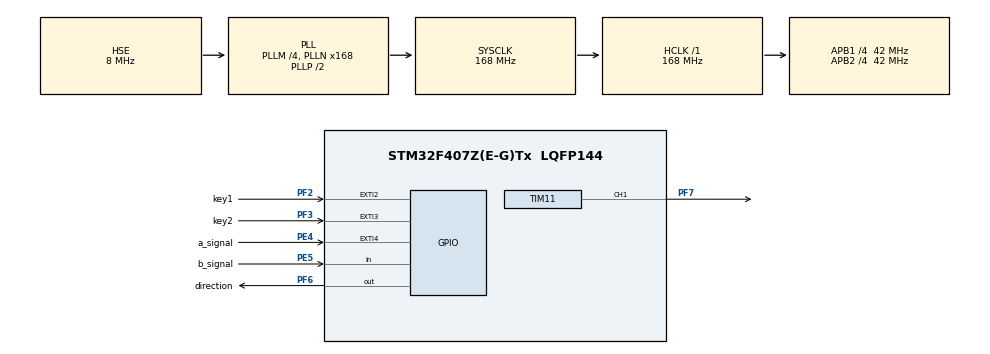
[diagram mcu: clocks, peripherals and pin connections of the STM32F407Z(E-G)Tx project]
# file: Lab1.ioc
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Mcu.Family=STM32F4
Mcu.Name=STM32F407Z(E-G)Tx
Mcu.Package=LQFP144
NVIC.EXTI2_IRQn=true\:0\:0\:false\:false\:true\:true\:true\:true
NVIC.EXTI3_IRQn=true\:0\:0\:false\:false\:true\:true\:true\:true
NVIC.EXTI4_IRQn=true\:0\:0\:false\:false\:true\:true\:true\:true
NVIC.PriorityGroup=NVIC_PRIORITYGROUP_4
NVIC.TIM6_DAC_IRQn=true\:0\:0\:false\:false\:true\:true\:true\:true
PE4.GPIO_Label=a_signal
PE4.Signal=GPXTI4
PE5.GPIO_Label=b_signal
PE5.Signal=GPIO_Input
PF2.GPIO_Label=key1
PF2.GPIO_ModeDefaultEXTI=GPIO_MODE_IT_RISING_FALLING
PF2.Signal=GPXTI2
PF3.GPIO_Label=key2
PF3.GPIO_ModeDefaultEXTI=GPIO_MODE_IT_RISING
PF3.Signal=GPXTI3
PF6.GPIO_Label=direction
PF6.Signal=GPIO_Output
PF7.Signal=S_TIM11_CH1
PH0-OSC_IN.Mode=HSE-External-Oscillator
PH0-OSC_IN.Signal=RCC_OSC_IN
PH1-OSC_OUT.Mode=HSE-External-Oscillator
PH1-OSC_OUT.Signal=RCC_OSC_OUT
ProjectManager.HeapSize=0x200
ProjectManager.StackSize=0x400
ProjectManager.TargetToolchain=STM32CubeIDE
RCC.48MHZClocksFreq_Value=84000000
RCC.AHBFreq_Value=168000000
RCC.APB1CLKDivider=RCC_HCLK_DIV4
RCC.APB1Freq_Value=42000000
RCC.APB1TimFreq_Value=84000000
RCC.APB2CLKDivider=RCC_HCLK_DIV4
RCC.APB2Freq_Value=42000000
RCC.APB2TimFreq_Value=84000000
RCC.CortexFreq_Value=168000000
RCC.HCLKFreq_Value=168000000
RCC.HSE_VALUE=8000000
RCC.HSI_VALUE=16000000
RCC.LSE_VALUE=32768
RCC.PLLM=4
RCC.PLLN=168
RCC.PLLSourceVirtual=RCC_PLLSOURCE_HSE
RCC.SYSCLKFreq_VALUE=168000000
RCC.SYSCLKSource=RCC_SYSCLKSOURCE_PLLCLK
RCC.VCOOutputFreq_Value=336000000
SH.S_TIM11_CH1.0=TIM11_CH1,PWM Generation1 CH1
TIM10.Period=9999
TIM10.Prescaler=167
TIM11.Channel=TIM_CHANNEL_1
TIM11.Period=1000
TIM11.Prescaler=4
TIM11.Pulse=0
VP_TIM10_VS_ClockSourceINT.Mode=Enable_Timer
VP_TIM11_VS_ClockSourceINT.Mode=Enable_Timer
VP_TIM6_VS_ClockSourceINT.Mode=Enable_Timer
board=custom

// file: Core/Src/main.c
/* USER CODE BEGIN Header */
/**
  ******************************************************************************
  * @file           : main.c
  * @brief          : Main program body
  ******************************************************************************
  * @attention
  *
  * Copyright (c) 2023 STMicroelectronics.
  * All rights reserved.
  *
  * This software is licensed under terms that can be found in the LICENSE file
  * in the root directory of this software component.
  * If no LICENSE file comes with this software, it is provided AS-IS.
  *
  ******************************************************************************
  */
/* USER CODE END Header */
#include "main.h"

/* USER CODE BEGIN PTD */
typedef enum{
	  ZERO,
	  FIRST,
	  SECOND,
	  THIRD
  }STATE;

/* USER CODE END PTD */

/* USER CODE BEGIN PD */
#define PPR 1024
#define STEADY_STATE 1800
/* USER CODE END PD */

 TIM_HandleTypeDef htim6;
TIM_HandleTypeDef htim10;
TIM_HandleTypeDef htim11;

/* USER CODE BEGIN PV */
STATE state = ZERO;
/* USER CODE END PV */

void SystemClock_Config(void);
static void MX_GPIO_Init(void);
static void MX_TIM11_Init(void);
static void MX_TIM6_Init(void);
static void MX_TIM10_Init(void);

/* USER CODE BEGIN 0 */
uint16_t pulse_number = 0;
uint16_t rpm = 0;
uint16_t direction = 0;
uint16_t ta = 0;
uint16_t rpm_0 = 0;
uint16_t rpm_1 = 0;
uint16_t rpm_prev = 0;
uint16_t rpm_next = 0;
uint16_t K = 0;
uint16_t ss = 0;
/* USER CODE END 0 */

int main(void)
{

  /* MCU Configuration--------------------------------------------------------*/

  /* Reset of all peripherals, Initializes the Flash interface and the Systick. */
  HAL_Init();

  /* Configure the system clock */
  SystemClock_Config();

  /* Initialize all configured peripherals */
  MX_GPIO_Init();
  MX_TIM11_Init();
  MX_TIM6_Init();
  MX_TIM10_Init();
  /* USER CODE BEGIN 2 */
  HAL_TIM_PWM_Start(&htim11, TIM_CHANNEL_1);
  TIM11->CCR1 = 1;

  TIM6->PSC = 839;
  TIM6->ARR = 999;
  HAL_TIM_Base_Start_IT(&htim6);

  /* USER CODE END 2 */

  /* Infinite loop */
  /* USER CODE BEGIN WHILE */
  while (1)
  {

	  switch(state){
	  case ZERO:
		  TIM11->CCR1 = 1;
		  break;
	  case FIRST:
		  TIM11->CCR1 = 370;
		  rpm_0 = rpm;
		  rpm_next = rpm;
		  break;
	  case SECOND:
		  TIM11->CCR1 = 700;
		  rpm_1 = rpm;
		  rpm_prev = rpm_next;
		  rpm_next = rpm;
		  K = (rpm_1 - rpm_0) / ((0.7f-0.37f) * 12);
		  if (abs(rpm_next - rpm_prev) < 1){
			  ss = rpm_next;
		  }
		  if (rpm > (1134 + rpm_0)){
			  ta = __HAL_TIM_GET_COUNTER(&htim10);
			  HAL_TIM_Base_Stop(&htim10);
		  }
		  break;
	  case THIRD:
		  TIM11->CCR1 = 370;
		  break;
	  }
    /* USER CODE END WHILE */

  }
}

void SystemClock_Config(void)
{
  RCC_OscInitTypeDef RCC_OscInitStruct = {0};
  RCC_ClkInitTypeDef RCC_ClkInitStruct = {0};

  /** Configure the main internal regulator output voltage
  */
  __HAL_RCC_PWR_CLK_ENABLE();
  __HAL_PWR_VOLTAGESCALING_CONFIG(PWR_REGULATOR_VOLTAGE_SCALE1);

  /** Initializes the RCC Oscillators according to the specified parameters
  * in the RCC_OscInitTypeDef structure.
  */
  RCC_OscInitStruct.OscillatorType = RCC_OSCILLATORTYPE_HSE;
  RCC_OscInitStruct.HSEState = RCC_HSE_ON;
  RCC_OscInitStruct.PLL.PLLState = RCC_PLL_ON;
  RCC_OscInitStruct.PLL.PLLSource = RCC_PLLSOURCE_HSE;
  RCC_OscInitStruct.PLL.PLLM = 4;
  RCC_OscInitStruct.PLL.PLLN = 168;
  RCC_OscInitStruct.PLL.PLLP = RCC_PLLP_DIV2;
  RCC_OscInitStruct.PLL.PLLQ = 4;
  if (HAL_RCC_OscConfig(&RCC_OscInitStruct) != HAL_OK)
  {
    Error_Handler();
  }

  /** Initializes the CPU, AHB and APB buses clocks
  */
  RCC_ClkInitStruct.ClockType = RCC_CLOCKTYPE_HCLK|RCC_CLOCKTYPE_SYSCLK
                              |RCC_CLOCKTYPE_PCLK1|RCC_CLOCKTYPE_PCLK2;
  RCC_ClkInitStruct.SYSCLKSource = RCC_SYSCLKSOURCE_PLLCLK;
  RCC_ClkInitStruct.AHBCLKDivider = RCC_SYSCLK_DIV1;
  RCC_ClkInitStruct.APB1CLKDivider = RCC_HCLK_DIV4;
  RCC_ClkInitStruct.APB2CLKDivider = RCC_HCLK_DIV4;

  if (HAL_RCC_ClockConfig(&RCC_ClkInitStruct, FLASH_LATENCY_5) != HAL_OK)
  {
    Error_Handler();
  }
}

static void MX_TIM6_Init(void)
{

  TIM_MasterConfigTypeDef sMasterConfig = {0};

  htim6.Instance = TIM6;
  htim6.Init.Prescaler = 0;
  htim6.Init.CounterMode = TIM_COUNTERMODE_UP;
  htim6.Init.Period = 65535;
  htim6.Init.AutoReloadPreload = TIM_AUTORELOAD_PRELOAD_DISABLE;
  if (HAL_TIM_Base_Init(&htim6) != HAL_OK)
  {
    Error_Handler();
  }
  sMasterConfig.MasterOutputTrigger = TIM_TRGO_RESET;
  sMasterConfig.MasterSlaveMode = TIM_MASTERSLAVEMODE_DISABLE;
  if (HAL_TIMEx_MasterConfigSynchronization(&htim6, &sMasterConfig) != HAL_OK)
  {
    Error_Handler();
  }

}

static void MX_TIM10_Init(void)
{

  htim10.Instance = TIM10;
  htim10.Init.Prescaler = 167;
  htim10.Init.CounterMode = TIM_COUNTERMODE_UP;
  htim10.Init.Period = 9999;
  htim10.Init.ClockDivision = TIM_CLOCKDIVISION_DIV1;
  htim10.Init.AutoReloadPreload = TIM_AUTORELOAD_PRELOAD_DISABLE;
  if (HAL_TIM_Base_Init(&htim10) != HAL_OK)
  {
    Error_Handler();
  }

}

static void MX_TIM11_Init(void)
{

  TIM_OC_InitTypeDef sConfigOC = {0};

  htim11.Instance = TIM11;
  htim11.Init.Prescaler = 4;
  htim11.Init.CounterMode = TIM_COUNTERMODE_UP;
  htim11.Init.Period = 1000;
  htim11.Init.ClockDivision = TIM_CLOCKDIVISION_DIV1;
  htim11.Init.AutoReloadPreload = TIM_AUTORELOAD_PRELOAD_DISABLE;
  if (HAL_TIM_Base_Init(&htim11) != HAL_OK)
  {
    Error_Handler();
  }
  if (HAL_TIM_PWM_Init(&htim11) != HAL_OK)
  {
    Error_Handler();
  }
  sConfigOC.OCMode = TIM_OCMODE_PWM1;
  sConfigOC.Pulse = 0;
  sConfigOC.OCPolarity = TIM_OCPOLARITY_HIGH;
  sConfigOC.OCFastMode = TIM_OCFAST_DISABLE;
  if (HAL_TIM_PWM_ConfigChannel(&htim11, &sConfigOC, TIM_CHANNEL_1) != HAL_OK)
  {
    Error_Handler();
  }
  HAL_TIM_MspPostInit(&htim11);

}

static void MX_GPIO_Init(void)
{
  GPIO_InitTypeDef GPIO_InitStruct = {0};

  /* GPIO Ports Clock Enable */
  __HAL_RCC_GPIOE_CLK_ENABLE();
  __HAL_RCC_GPIOF_CLK_ENABLE();
  __HAL_RCC_GPIOH_CLK_ENABLE();

  /*Configure GPIO pin Output Level */
  HAL_GPIO_WritePin(direction_GPIO_Port, direction_Pin, GPIO_PIN_RESET);

  /*Configure GPIO pin : a_signal_Pin */
  GPIO_InitStruct.Pin = a_signal_Pin;
  GPIO_InitStruct.Mode = GPIO_MODE_IT_RISING;
  GPIO_InitStruct.Pull = GPIO_NOPULL;
  HAL_GPIO_Init(a_signal_GPIO_Port, &GPIO_InitStruct);

  /*Configure GPIO pin : b_signal_Pin */
  GPIO_InitStruct.Pin = b_signal_Pin;
  GPIO_InitStruct.Mode = GPIO_MODE_INPUT;
  GPIO_InitStruct.Pull = GPIO_NOPULL;
  HAL_GPIO_Init(b_signal_GPIO_Port, &GPIO_InitStruct);

  /*Configure GPIO pin : key1_Pin */
  GPIO_InitStruct.Pin = key1_Pin;
  GPIO_InitStruct.Mode = GPIO_MODE_IT_RISING_FALLING;
  GPIO_InitStruct.Pull = GPIO_NOPULL;
  HAL_GPIO_Init(key1_GPIO_Port, &GPIO_InitStruct);

  /*Configure GPIO pin : key2_Pin */
  GPIO_InitStruct.Pin = key2_Pin;
  GPIO_InitStruct.Mode = GPIO_MODE_IT_RISING;
  GPIO_InitStruct.Pull = GPIO_NOPULL;
  HAL_GPIO_Init(key2_GPIO_Port, &GPIO_InitStruct);

  /*Configure GPIO pin : direction_Pin */
  GPIO_InitStruct.Pin = direction_Pin;
  GPIO_InitStruct.Mode = GPIO_MODE_OUTPUT_PP;
  GPIO_InitStruct.Pull = GPIO_NOPULL;
  GPIO_InitStruct.Speed = GPIO_SPEED_FREQ_LOW;
  HAL_GPIO_Init(direction_GPIO_Port, &GPIO_InitStruct);

  /* EXTI interrupt init*/
  HAL_NVIC_SetPriority(EXTI2_IRQn, 0, 0);
  HAL_NVIC_EnableIRQ(EXTI2_IRQn);

  HAL_NVIC_SetPriority(EXTI3_IRQn, 0, 0);
  HAL_NVIC_EnableIRQ(EXTI3_IRQn);

  HAL_NVIC_SetPriority(EXTI4_IRQn, 0, 0);
  HAL_NVIC_EnableIRQ(EXTI4_IRQn);

}

/* USER CODE BEGIN 4 */
void HAL_TIM_PeriodElapsedCallback(TIM_HandleTypeDef *htim){
	if (htim->Instance == TIM6){
		rpm = (pulse_number * 600) / PPR;
		pulse_number = 0;
	}
}

void HAL_GPIO_EXTI_Callback(uint16_t GPIO_Pin)
{
	if (GPIO_Pin == a_signal_Pin){
		pulse_number++;
		if ((HAL_GPIO_ReadPin(b_signal_GPIO_Port, b_signal_Pin)) == GPIO_PIN_SET){
			direction = 0;
		}
		else{
			direction = 1;
		}
	}
	if (GPIO_Pin == key2_Pin){
		if (state == ZERO){
			state = FIRST;
		}
		else if (state == FIRST){
			if (ta == 0){
				__HAL_TIM_SetCounter(&htim10, 0);
				HAL_TIM_Base_Start(&htim10);
			}
			state = SECOND;
		}
		else if (state == SECOND){

			state = THIRD;
		}
		else{
			state = ZERO;
		}
	}
}
/* USER CODE END 4 */

void Error_Handler(void)
{
  __disable_irq();
  while (1)
  {
  }
}
